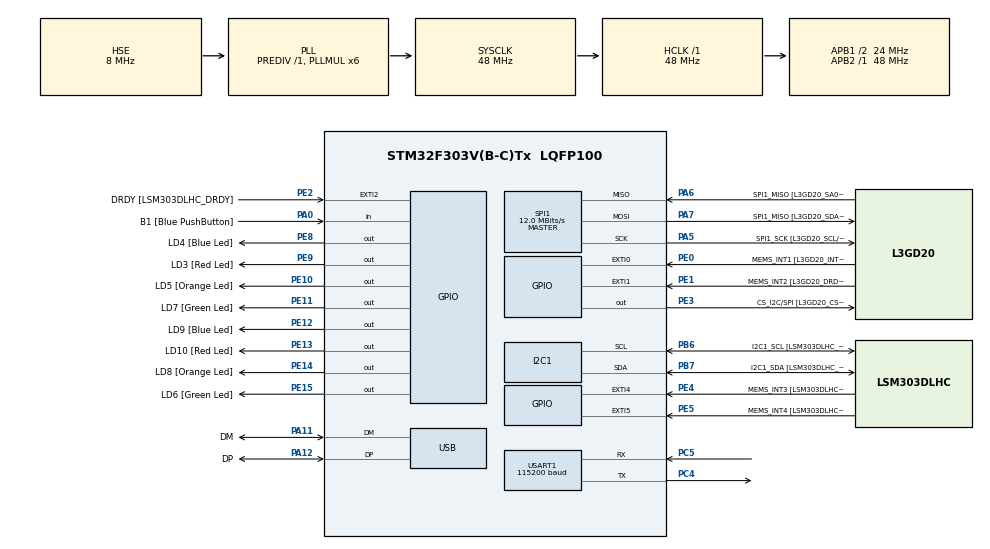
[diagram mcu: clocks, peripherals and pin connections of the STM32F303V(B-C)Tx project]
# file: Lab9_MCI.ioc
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I2C1.Timing=0x00201D2B
I2C1.Timing-I2C=0x2000090E
Mcu.Family=STM32F3
Mcu.Name=STM32F303V(B-C)Tx
Mcu.Package=LQFP100
NVIC.PriorityGroup=NVIC_PRIORITYGROUP_0
NVIC.USART1_IRQn=true\:0\:0\:false\:false\:true\:true\:true\:true
PA0.GPIO_Label=B1 [Blue PushButton]
PA0.Signal=GPIO_Input
PA11.GPIO_Label=DM
PA11.Mode=Device
PA11.Signal=USB_DM
PA12.GPIO_Label=DP
PA12.Mode=Device
PA12.Signal=USB_DP
PA13.GPIO_Label=SWDIO
PA13.Mode=Serial_Wire
PA13.Signal=SYS_JTMS-SWDIO
PA14.GPIO_Label=SWCLK
PA14.Mode=Serial_Wire
PA14.Signal=SYS_JTCK-SWCLK
PA5.GPIO_Label=SPI1_SCK [L3GD20_SCL/SPC]
PA5.Mode=Full_Duplex_Master
PA5.Signal=SPI1_SCK
PA6.GPIO_Label=SPI1_MISO [L3GD20_SA0/SDO]
PA6.Mode=Full_Duplex_Master
PA6.Signal=SPI1_MISO
PA7.GPIO_Label=SPI1_MISO [L3GD20_SDA/SDI/SDO]
PA7.Mode=Full_Duplex_Master
PA7.Signal=SPI1_MOSI
PB3.GPIO_Label=SWO
PB3.Signal=SYS_JTDO-TRACESWO
PB6.GPIO_Label=I2C1_SCL [LSM303DLHC_SCL]
PB6.GPIO_Pu=GPIO_PULLUP
PB6.Mode=I2C
PB6.Signal=I2C1_SCL
PB7.GPIO_Label=I2C1_SDA [LSM303DLHC_SDA]
PB7.GPIO_Pu=GPIO_PULLUP
PB7.Mode=I2C
PB7.Signal=I2C1_SDA
PC14-OSC32_IN.GPIO_Label=OSC32_IN
PC14-OSC32_IN.Signal=RCC_OSC32_IN
PC15-OSC32_OUT.GPIO_Label=OSC32_OUT
PC15-OSC32_OUT.Signal=RCC_OSC32_OUT
PC4.Mode=Asynchronous
PC4.Signal=USART1_TX
PC5.Mode=Asynchronous
PC5.Signal=USART1_RX
PE0.GPIO_Label=MEMS_INT1 [L3GD20_INT1]
PE0.GPIO_ModeDefaultEXTI=GPIO_MODE_EVT_RISING
PE0.Signal=GPXTI0
PE1.GPIO_Label=MEMS_INT2 [L3GD20_DRDY/INT2]
PE1.GPIO_ModeDefaultEXTI=GPIO_MODE_EVT_RISING
PE1.Signal=GPXTI1
PE10.GPIO_Label=LD5 [Orange Led]
PE10.Signal=GPIO_Output
PE11.GPIO_Label=LD7 [Green Led]
PE11.Signal=GPIO_Output
PE12.GPIO_Label=LD9 [Blue Led]
PE12.Signal=GPIO_Output
PE13.GPIO_Label=LD10 [Red Led]
PE13.Signal=GPIO_Output
PE14.GPIO_Label=LD8 [Orange Led]
PE14.Signal=GPIO_Output
PE15.GPIO_Label=LD6 [Green Led]
PE15.Signal=GPIO_Output
PE2.GPIO_Label=DRDY [LSM303DLHC_DRDY]
PE2.GPIO_ModeDefaultEXTI=GPIO_MODE_EVT_RISING
PE2.Signal=GPXTI2
PE3.GPIO_Label=CS_I2C/SPI [L3GD20_CS_I2C/SPI]
PE3.Signal=GPIO_Output
PE4.GPIO_Label=MEMS_INT3 [LSM303DLHC_INT1]
PE4.GPIO_ModeDefaultEXTI=GPIO_MODE_EVT_RISING
PE4.Signal=GPXTI4
PE5.GPIO_Label=MEMS_INT4 [LSM303DLHC_INT2]
PE5.GPIO_ModeDefaultEXTI=GPIO_MODE_EVT_RISING
PE5.Signal=GPXTI5
PE8.GPIO_Label=LD4 [Blue Led]
PE8.Signal=GPIO_Output
PE9.GPIO_Label=LD3 [Red Led]
PE9.Signal=GPIO_Output
PF0-OSC_IN.GPIO_Label=OSC_IN
PF0-OSC_IN.Mode=HSE-External-Clock-Source
PF0-OSC_IN.Signal=RCC_OSC_IN
PF1-OSC_OUT.GPIO_Label=OSC_OUT
PF1-OSC_OUT.Signal=RCC_OSC_OUT
ProjectManager.HeapSize=0x200
ProjectManager.StackSize=0x400
ProjectManager.TargetToolchain=CMake
RCC.AHBFreq_Value=48000000
RCC.APB1CLKDivider=RCC_HCLK_DIV2
RCC.APB1Freq_Value=24000000
RCC.APB1TimFreq_Value=48000000
RCC.APB2Freq_Value=48000000
RCC.APB2TimFreq_Value=48000000
RCC.CortexFreq_Value=48000000
RCC.HCLKFreq_Value=48000000
RCC.HSE_VALUE=8000000
RCC.HSI_VALUE=8000000
RCC.LSE_VALUE=32768
RCC.PLLMUL=RCC_PLL_MUL6
RCC.SYSCLKFreq_VALUE=48000000
RCC.SYSCLKSourceVirtual=RCC_SYSCLKSOURCE_PLLCLK
RCC.USBFreq_Value=48000000
SPI1.BaudRatePrescaler=SPI_BAUDRATEPRESCALER_4
SPI1.BaudRatePrescaler-Full_Duplex_Master=SPI_BAUDRATEPRESCALER_2
SPI1.CalculateBaudRate=12.0 MBits/s
SPI1.CalculateBaudRate-Full_Duplex_Master=24.0 MBits/s
SPI1.Direction=SPI_DIRECTION_2LINES
SPI1.Mode=SPI_MODE_MASTER
SPI1.Mode-Full_Duplex_Master=SPI_MODE_MASTER
SPI1.VirtualType=VM_MASTER
USART1.BaudRate=115200
USART1.VirtualMode-Asynchronous=VM_ASYNC
board=STM32F3DISCOVERY

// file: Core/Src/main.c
/* USER CODE BEGIN Header */
/**
  ******************************************************************************
  * @file           : main.c
  * @brief          : Main program body
  ******************************************************************************
  * @attention
  *
  * Copyright (c) 2025 STMicroelectronics.
  * All rights reserved.
  *
  * This software is licensed under terms that can be found in the LICENSE file
  * in the root directory of this software component.
  * If no LICENSE file comes with this software, it is provided AS-IS.
  *
  ******************************************************************************
  */
/* USER CODE END Header */
#include "main.h"
#include "stdio.h"
#include "string.h"

// I2C_HandleTypeDef hi2c1;
// SPI_HandleTypeDef hspi1;
// UART_HandleTypeDef huart1;
// PCD_HandleTypeDef hpcd_USB_FS;

I2C_HandleTypeDef hi2c1;

SPI_HandleTypeDef hspi1;

UART_HandleTypeDef huart1;

PCD_HandleTypeDef hpcd_USB_FS;

void SystemClock_Config(void);
static void MX_GPIO_Init(void);
static void MX_I2C1_Init(void);
static void MX_SPI1_Init(void);
static void MX_USART1_UART_Init(void);
static void MX_USB_PCD_Init(void);
/* USER CODE BEGIN PFP */
/* User variables */
// const uint8_t LSM303AGR_7BIT_ADDR = 0x33;    // 7-bit address
// const uint8_t LSM303AGR_WHO_AM_I = 0x0F;     // WHO_AM_I register
// uint8_t dev_addr;                            // 8-bit HAL device address (7-bit << 1)
// uint8_t whoami = 0;
// #define LSM_A_ADDR_8 (0x19u << 1)
// #define LSM_A_WHOAMI 0x0F
// char msg[80];
/* USER CODE END PFP */
/* ---- integer-only printing of g-values ---- */
#define GYRO_CS_GPIO_Port   GPIOE
#define GYRO_CS_Pin         CS_I2C_SPI_Pin
#define GYRO_CS_LOW()       HAL_GPIO_WritePin(GYRO_CS_GPIO_Port, GYRO_CS_Pin, GPIO_PIN_RESET)
#define GYRO_CS_HIGH()      HAL_GPIO_WritePin(GYRO_CS_GPIO_Port, GYRO_CS_Pin, GPIO_PIN_SET)

//GYROSCOPE
/* ===== L3GD20 (on-board gyro) via SPI1 ===== */
#define GYRO_REG_WHOAMI   0x0F   // expect 0xD4 or 0xD7
#define GYRO_REG_CTRL1    0x20   // power + ODR
#define GYRO_REG_CTRL4    0x23   // full-scale
#define GYRO_REG_OUT_X_L  0x28   // X/Y/Z output regs start
/* SPI read/multi bits for L3GD20: bit7=1 (READ), bit6=1 (auto-inc) */
#define GYRO_SPI_READ     0x80
#define GYRO_SPI_AUTO_INC 0x40

#define GYRO_SENS_250DPS  0.00875f  // dps/LSB @ ±250 dps

static void uart_print(const char *s) {
  HAL_UART_Transmit(&huart1, (uint8_t*)s, (uint16_t)strlen(s), HAL_MAX_DELAY);
}
static inline int16_t s16(uint8_t lo, uint8_t hi) {
  return (int16_t)((hi << 8) | lo);
}
static void gyro_write_u8(uint8_t reg, uint8_t val) {
  uint8_t tx[2] = { reg & 0x3F, val }; // write: bit7=0, bit6=0
  GYRO_CS_LOW();
  HAL_SPI_Transmit(&hspi1, tx, 2, 100);
  GYRO_CS_HIGH();
}

static void gyro_read_n(uint8_t reg, uint8_t *buf, uint16_t n) {
  uint8_t header = (reg & 0x3F) | GYRO_SPI_READ | (n>1 ? GYRO_SPI_AUTO_INC : 0);
  GYRO_CS_LOW();
  HAL_SPI_Transmit(&hspi1, &header, 1, 100);
  HAL_SPI_Receive(&hspi1, buf, n, 100);
  GYRO_CS_HIGH();
}

static uint8_t gyro_read_u8(uint8_t reg) {
  uint8_t v=0; gyro_read_n(reg, &v, 1); return v;
}

/* Bring gyro up: normal mode, 100 Hz, all axes on; ±250 dps */
static void gyro_init(void) {
  /* CTRL1: ODR=95/100Hz & enable X/Y/Z + power on -> 0x0F is common start */
  gyro_write_u8(GYRO_REG_CTRL1, 0x0F);
  /* CTRL4: scale = ±250 dps (FS bits = 00), continuous update -> 0x00 */
  gyro_write_u8(GYRO_REG_CTRL4, 0x00);
  HAL_Delay(10);
}

// static inline int16_t s16(uint8_t lo, uint8_t hi) { return (int16_t)((hi<<8)|lo); }

/* Read X/Y/Z raw and convert to dps (we’ll print as fixed-point) */
typedef struct { float gx, gy, gz; } gyro_t;

static void gyro_read(gyro_t *g) {
  uint8_t b[6];
  gyro_read_n(GYRO_REG_OUT_X_L, b, 6);  // auto-increment reads X/Y/Z L/H
  int16_t x = s16(b[0], b[1]);
  int16_t y = s16(b[2], b[3]);
  int16_t z = s16(b[4], b[5]);
  g->gx = x * GYRO_SENS_250DPS;
  g->gy = y * GYRO_SENS_250DPS;
  g->gz = z * GYRO_SENS_250DPS;
}
//task3
static void deg_to_text(char *dst, size_t n, float deg){
  int32_t mdeg = (int32_t)((deg>=0)?(deg*1000.0f+0.5f):(deg*1000.0f-0.5f));
  int32_t s = (mdeg<0); if(s) mdeg=-mdeg;
  int32_t i = mdeg/1000, f = mdeg%1000;
  if(s) snprintf(dst,n,"-%ld.%03ld",(long)i,(long)f);
  else  snprintf(dst,n, "%ld.%03ld",(long)i,(long)f);
}
static float gyro_calibrate_bias_x(int samples, int delay_ms){
  gyro_t g; float sum = 0.0f;
  for(int i=0;i<samples;i++){
    gyro_read(&g);
    sum += g.gx;           // degrees/second
    HAL_Delay(delay_ms);
  }
  return sum / samples;    // °/s bias
}

static void dps_to_text(char *dst, size_t n, float dps){
  int32_t mdps = (int32_t)((dps>=0)?(dps*1000.0f+0.5f):(dps*1000.0f-0.5f));
  int32_t s = (mdps<0); if(s) mdps=-mdps;
  int32_t i = mdps/1000, f = mdps%1000;
  if(s) snprintf(dst,n,"-%ld.%03ld",(long)i,(long)f);
  else  snprintf(dst,n, "%ld.%03ld",(long)i,(long)f);
}
static void print_gyro_csv(float gx,float gy,float gz){
  char ax[16], ay[16], az[16], line[64];
  dps_to_text(ax,sizeof ax,gx);
  dps_to_text(ay,sizeof ay,gy);
  dps_to_text(az,sizeof az,gz);
  snprintf(line,sizeof line,"%s, %s, %s\r\n",ax,ay,az);
  uart_print(line);
}

//ACCELEROMETER
/* convert one g-value (float) to text like "-0.012" WITHOUT float printf */
static void g_to_text(char *dst, size_t n, float g) {
  /* scale to milli-g and round */
  int32_t mg = (int32_t)( (g >= 0.0f) ? (g*1000.0f + 0.5f) : (g*1000.0f - 0.5f) );
  int32_t s = (mg < 0);
  if (s) mg = -mg;
  int32_t i = mg / 1000;      /* integer part in g */
  int32_t f = mg % 1000;      /* fractional part in mg */
  if (s)
    snprintf(dst, n, "-%ld.%03ld", (long)i, (long)f);
  else
    snprintf(dst, n,  "%ld.%03ld", (long)i, (long)f);
}

/* print three g-values as CSV: ax, ay, az using only integer printf */
static void print_xyz_csv(float ax, float ay, float az) {
  char a[16], b[16], c[16], line[64];
  g_to_text(a, sizeof(a), ax);
  g_to_text(b, sizeof(b), ay);
  g_to_text(c, sizeof(c), az);
  snprintf(line, sizeof(line), "%s, %s, %s\r\n", a, b, c);
  uart_print(line);
}
//task2
/* ===== LSM303AGR accelerometer (ACC) ===== */
#define LSM_A_ADDR_8        (0x19u << 1)   // 0x32
#define LSM_A_CTRL1         0x20           // ODR & axes enable
#define LSM_A_CTRL4         0x23           // full-scale & mode
#define LSM_A_OUT_X_L       0x28           // first data reg (auto-inc)
#define LSM_A_AUTO_INC      0x80           // OR this for multi-byte read

/* Lab’s Normal mode scale: 3.9 mg/LSB = 0.0039 g/LSB (±2g) */
#define LSM_A_G_PER_LSB     0.0039f

static HAL_StatusTypeDef i2c_write8(uint16_t dev8, uint8_t reg, uint8_t val) {
  return HAL_I2C_Mem_Write(&hi2c1, dev8, reg, I2C_MEMADD_SIZE_8BIT, &val, 1, 100);
}
static HAL_StatusTypeDef i2c_readn(uint16_t dev8, uint8_t reg, uint8_t *buf, uint16_t n) {
  return HAL_I2C_Mem_Read(&hi2c1, dev8, reg, I2C_MEMADD_SIZE_8BIT, buf, n, 100);
}

typedef struct {
  float ax, ay, az;      // in g
  float offx, offy, offz;
} lsm_acc_t;

/* 100 Hz ODR, all axes on; ±2g normal mode */
static void LSM_Accel_Init(void) {
  /* CTRL1_A:
     ODR=100 Hz (0b0101 << 4 = 0x50), LPen=0 (normal), Zen/Yen/Xen=1 → 0x07
     => 0x57 */
  i2c_write8(LSM_A_ADDR_8, LSM_A_CTRL1, 0x57);

  /* CTRL4_A:
     BDU=0, BLE=0, FS=±2g(00), HR=0 (normal mode) → 0x00 */
  i2c_write8(LSM_A_ADDR_8, LSM_A_CTRL4, 0x00);

  HAL_Delay(10);
}

/* Read raw XYZ (6 bytes), convert to g (Normal mode: 10-bit/12-bit effective; lab scale 3.9 mg/LSB) */
static HAL_StatusTypeDef LSM_Accel_Read(lsm_acc_t *m) {
  uint8_t b[6];
  HAL_StatusTypeDef st = i2c_readn(LSM_A_ADDR_8, (LSM_A_OUT_X_L | LSM_A_AUTO_INC), b, 6);
  if (st != HAL_OK) return st;

  int16_t rx = s16(b[0], b[1]);
  int16_t ry = s16(b[2], b[3]);
  int16_t rz = s16(b[4], b[5]);

  /* Convert to g using 0.0039 g/LSB, then subtract offsets */
  m->ax = rx * LSM_A_G_PER_LSB - m->offx;
  m->ay = ry * LSM_A_G_PER_LSB - m->offy;
  m->az = rz * LSM_A_G_PER_LSB - m->offz;
  return HAL_OK;
}

/* Simple offset calibration: average N samples while device is still/flat */
static void LSM_Accel_Calibrate(lsm_acc_t *m, int N) {
  float sx=0, sy=0, sz=0;
  lsm_acc_t t = {0};
  for (int i=0; i<N; i++) {
    if (LSM_Accel_Read(&t) == HAL_OK) {
      sx += t.ax; sy += t.ay; sz += t.az;
    }
    HAL_Delay(10);
  }
  /* If lying flat Z ~ +1 g. We want offsets that zero readings except gravity on Z.
     For Task 2 we’ll just remove the raw bias; keep gravity as-is (no 1g correction).
     If you want Z ~ 0 when flat, use m->offz = (sz/N) - 1.0f; */
  m->offx = sx / N;
  m->offy = sy / N;
  m->offz = sz / N;   // or (sz/N) - 1.0f to make flat Z≈0
}
/* USER CODE BEGIN 0 */
int _write(int file, char *ptr, int len); // retarget printf to UART
/* USER CODE END 0 */
int _write(int file, char *ptr, int len)
{
  /* file param is ignored; send over huart1 */
  if (HAL_UART_Transmit(&huart1, (uint8_t *)ptr, len, HAL_MAX_DELAY) == HAL_OK)
    return len;
  return -1;
}
int main(void)
{

  /* USER CODE BEGIN 1 */
  // dev_addr = (uint8_t)(LSM303AGR_7BIT_ADDR << 1); // HAL wants 8-bit address
  /* USER CODE END 1 */

  /* MCU Configuration--------------------------------------------------------*/

  /* Reset of all peripherals, Initializes the Flash interface and the Systick. */
  HAL_Init();

  /* USER CODE BEGIN Init */
  // dev_addr = (uint8_t)(LSM303AGR_7BIT_ADDR << 1); // HAL wants 8-bit address
  /* USER CODE END Init */

  /* Configure the system clock */
  SystemClock_Config();

  /* Initialize all configured peripherals */
  MX_GPIO_Init();
  MX_I2C1_Init();
  MX_SPI1_Init();
  MX_USART1_UART_Init();
  MX_USB_PCD_Init();
  /* USER CODE BEGIN 2 */
/* LSM303AGR parameters */
  // const uint8_t LSM303AGR_7BIT_ADDR = 0x33;          // 7-bit address (from your spec)
  // const uint8_t LSM303AGR_WHO_AM_I = 0x0F;           // WHO_AM_I register
  // uint8_t dev_addr = LSM303AGR_7BIT_ADDR << 1;       // HAL expects 8-bit (7-bit << 1)
  // uint8_t whoami = 0;
  // char msg[80];

  // HAL_Delay(100); // short delay after init
  //   printf("Starting LSM303AGR WHO_AM_I read example...\r\n");
  /* USER CODE END 2 */
//   HAL_Delay(100);
// printf("Task 2: init accel & stream XYZ (g)\r\n");

// /* Sanity: device present? */
// HAL_StatusTypeDef st = HAL_I2C_IsDeviceReady(&hi2c1, LSM_A_ADDR_8, 3, 50);
// printf("IsDeviceReady: %s (err=0x%lX)\r\n", (st==HAL_OK)?"OK":"ERR", hi2c1.ErrorCode);

// /* Init accel, then calibrate */
// LSM_Accel_Init();
// lsm_acc_t acc = {0};
// printf("Calibrating offsets... keep board still (0.2 s)\r\n");
// LSM_Accel_Calibrate(&acc, 20);
// // printf("Offsets  x=%.4f g  y=%.4f g  z=%.4f g\r\n", acc.offx, acc.offy, acc.offz);
// {
//   char ax[16], ay[16], az[16], line[80];
//   g_to_text(ax, sizeof(ax), acc.offx);
//   g_to_text(ay, sizeof(ay), acc.offy);
//   g_to_text(az, sizeof(az), acc.offz);
//   snprintf(line, sizeof(line),
//            "Offsets  x=%s g  y=%s g  z=%s g\r\n", ax, ay, az);
//   uart_print(line);
// }
HAL_Delay(100);

/* --- SPI CS idle high before any SPI use --- */
GYRO_CS_HIGH();

/* --- Accelerometer bring-up --- */
if (HAL_I2C_IsDeviceReady(&hi2c1, LSM_A_ADDR_8, 3, 50) == HAL_OK) {
  printf("Accel present\r\n");
} else {
  printf("Accel NOT present (I2C err=0x%lX)\r\n", hi2c1.ErrorCode);
}
LSM_Accel_Init();
lsm_acc_t a = {0};
/* quick bias estimate (optional) */
LSM_Accel_Calibrate(&a, 20);

/* --- Gyro bring-up --- */
uint8_t gid = gyro_read_u8(GYRO_REG_WHOAMI);   // expect 0xD4 or 0xD7
printf("Gyro WHO_AM_I=0x%02X\r\n", gid);
gyro_init();
/* --- Gyro bias calibration (keep board still) --- */
uart_print("Calibrating gyro bias... keep board still (about 2s)\r\n");
float gyro_bias_x = gyro_calibrate_bias_x(200, 10);  // ~2 seconds
char bias_txt[16]; dps_to_text(bias_txt, sizeof bias_txt, gyro_bias_x);
char line0[64]; snprintf(line0, sizeof line0, "GyroX bias=%s dps\r\n", bias_txt);
uart_print(line0);

/* --- Angle integrator state --- */
float angle_x = 0.0f;                   // degrees
uint32_t t_prev = HAL_GetTick();        // ms

/* Stream CSV every ~100 ms: ax, ay, az in g */
// gyro_t g;
// while (1) {

//   lsm_acc_t m = acc;  // copy to use stored offsets
//   if (LSM_Accel_Read(&m) == HAL_OK) {
//     // printf("%.4f, %.4f, %.4f\r\n", m.ax, m.ay, m.az);
//     print_xyz_csv(0,m.ay,0);
//   } else {
//     printf("READ ERR (I2C err=0x%lX)\r\n", hi2c1.ErrorCode);
//   }
//   HAL_Delay(100);
// }
  /* Infinite loop */
// while (1)
//   {
    // HAL_StatusTypeDef res = HAL_I2C_Mem_Read(&hi2c1,
    //                                          LSM_A_ADDR_8,
    //                                          LSM_A_WHOAMI,
    //                                          I2C_MEMADD_SIZE_8BIT,
    //                                          &whoami,
    //                                          1,
    //                                          100);

    // if (res == HAL_OK)
    // {
    //   // Print success and the returned value in hex
    //   int n = snprintf(msg, sizeof(msg), "LSM303AGR WHO_AM_I = 0x%02X\r\n", whoami);
    //   HAL_UART_Transmit(&huart1, (uint8_t*)msg, n, HAL_MAX_DELAY);
    // }
    // else
    // {
    //   // Print error
    //   int n = snprintf(msg, sizeof(msg), "I2C read error: %d\r\n", (int)res);
    //   HAL_UART_Transmit(&huart1, (uint8_t*)msg, n, HAL_MAX_DELAY);
    //   // Optionally re-initialize I2C (not required, depends on your board)
    //   printf("I2C read error = %d, HAL_I2C_ErrorCode = 0x%lX\r\n", res, hi2c1.ErrorCode);
    // }

    // HAL_Delay(1000);
  // }
    /* USER CODE BEGIN 3 */
  // gyro_read(&g);

  // /* read accel and use Y */
  // LSM_Accel_Read(&a);   // 'a' already holds offsets from calibration

  // /* print: gx (dps), ay (g) using integer-only formatting */
  // char gx_txt[16], ay_txt[16], line[64];
  // dps_to_text(gx_txt, sizeof gx_txt, g.gx);
  // g_to_text(ay_txt, sizeof ay_txt, a.ay);
  // snprintf(line, sizeof line, "GyroX=%s dps, AccY=%s g\r\n", gx_txt, ay_txt);
  // uart_print(line);

  // HAL_Delay(100);
  // }
  //task3
  gyro_t g;
  while (1) {
  /* time step */
  uint32_t t_now = HAL_GetTick();
  float dt = (t_now - t_prev) * 0.001f;    // seconds
  t_prev = t_now;

  /* read sensors */
  gyro_read(&g);           // g.gx in °/s
  LSM_Accel_Read(&a);      // a.ay in g (already offset-corrected by your calib)

  /* integrate gyro to angle (degrees) with bias removal */
  float gx_nobias = g.gx - gyro_bias_x;    // °/s
  angle_x += gx_nobias * dt;               // °

  /* format & print: GyroX(dps), AccY(g), AngleX(deg) */
  char gx_txt[16], ay_txt[16], ang_txt[16], line[96];
  dps_to_text(gx_txt, sizeof gx_txt, g.gx);
  g_to_text(ay_txt,  sizeof ay_txt,  a.ay);
  deg_to_text(ang_txt, sizeof ang_txt, angle_x);

  snprintf(line, sizeof line,
           "GyroX=%s dps, AccY=%s g, AngleX=%s deg\r\n",
           gx_txt, ay_txt, ang_txt);
  uart_print(line);

  HAL_Delay(10);  // ~100 Hz
}
  /* USER CODE END 3 */
}
void SystemClock_Config(void)
{
  RCC_OscInitTypeDef RCC_OscInitStruct = {0};
  RCC_ClkInitTypeDef RCC_ClkInitStruct = {0};
  RCC_PeriphCLKInitTypeDef PeriphClkInit = {0};

  /** Initializes the RCC Oscillators according to the specified parameters
  * in the RCC_OscInitTypeDef structure.
  */
  RCC_OscInitStruct.OscillatorType = RCC_OSCILLATORTYPE_HSI|RCC_OSCILLATORTYPE_HSE;
  RCC_OscInitStruct.HSEState = RCC_HSE_BYPASS;
  RCC_OscInitStruct.HSEPredivValue = RCC_HSE_PREDIV_DIV1;
  RCC_OscInitStruct.HSIState = RCC_HSI_ON;
  RCC_OscInitStruct.HSICalibrationValue = RCC_HSICALIBRATION_DEFAULT;
  RCC_OscInitStruct.PLL.PLLState = RCC_PLL_ON;
  RCC_OscInitStruct.PLL.PLLSource = RCC_PLLSOURCE_HSE;
  RCC_OscInitStruct.PLL.PLLMUL = RCC_PLL_MUL6;
  if (HAL_RCC_OscConfig(&RCC_OscInitStruct) != HAL_OK)
  {
    Error_Handler();
  }

  /** Initializes the CPU, AHB and APB buses clocks
  */
  RCC_ClkInitStruct.ClockType = RCC_CLOCKTYPE_HCLK|RCC_CLOCKTYPE_SYSCLK
                              |RCC_CLOCKTYPE_PCLK1|RCC_CLOCKTYPE_PCLK2;
  RCC_ClkInitStruct.SYSCLKSource = RCC_SYSCLKSOURCE_PLLCLK;
  RCC_ClkInitStruct.AHBCLKDivider = RCC_SYSCLK_DIV1;
  RCC_ClkInitStruct.APB1CLKDivider = RCC_HCLK_DIV2;
  RCC_ClkInitStruct.APB2CLKDivider = RCC_HCLK_DIV1;

  if (HAL_RCC_ClockConfig(&RCC_ClkInitStruct, FLASH_LATENCY_1) != HAL_OK)
  {
    Error_Handler();
  }
  PeriphClkInit.PeriphClockSelection = RCC_PERIPHCLK_USB|RCC_PERIPHCLK_USART1
                              |RCC_PERIPHCLK_I2C1;
  PeriphClkInit.Usart1ClockSelection = RCC_USART1CLKSOURCE_PCLK2;
  PeriphClkInit.I2c1ClockSelection = RCC_I2C1CLKSOURCE_HSI;
  PeriphClkInit.USBClockSelection = RCC_USBCLKSOURCE_PLL;
  if (HAL_RCCEx_PeriphCLKConfig(&PeriphClkInit) != HAL_OK)
  {
    Error_Handler();
  }
}

static void MX_I2C1_Init(void)
{

  hi2c1.Instance = I2C1;
  hi2c1.Init.Timing = 0x00201D2B;
  hi2c1.Init.OwnAddress1 = 0;
  hi2c1.Init.AddressingMode = I2C_ADDRESSINGMODE_7BIT;
  hi2c1.Init.DualAddressMode = I2C_DUALADDRESS_DISABLE;
  hi2c1.Init.OwnAddress2 = 0;
  hi2c1.Init.OwnAddress2Masks = I2C_OA2_NOMASK;
  hi2c1.Init.GeneralCallMode = I2C_GENERALCALL_DISABLE;
  hi2c1.Init.NoStretchMode = I2C_NOSTRETCH_DISABLE;
  if (HAL_I2C_Init(&hi2c1) != HAL_OK)
  {
    Error_Handler();
  }

  /** Configure Analogue filter
  */
  if (HAL_I2CEx_ConfigAnalogFilter(&hi2c1, I2C_ANALOGFILTER_ENABLE) != HAL_OK)
  {
    Error_Handler();
  }

  /** Configure Digital filter
  */
  if (HAL_I2CEx_ConfigDigitalFilter(&hi2c1, 0) != HAL_OK)
  {
    Error_Handler();
  }

}

static void MX_SPI1_Init(void)
{

  /* SPI1 parameter configuration*/
  hspi1.Instance = SPI1;
  hspi1.Init.Mode = SPI_MODE_MASTER;
  hspi1.Init.Direction = SPI_DIRECTION_2LINES;
  hspi1.Init.DataSize = SPI_DATASIZE_8BIT;
  hspi1.Init.CLKPolarity = SPI_POLARITY_HIGH;
  hspi1.Init.CLKPhase = SPI_PHASE_2EDGE;
  hspi1.Init.NSS = SPI_NSS_SOFT;
  hspi1.Init.BaudRatePrescaler = SPI_BAUDRATEPRESCALER_16;
  hspi1.Init.FirstBit = SPI_FIRSTBIT_MSB;
  hspi1.Init.TIMode = SPI_TIMODE_DISABLE;
  hspi1.Init.CRCCalculation = SPI_CRCCALCULATION_DISABLE;
  hspi1.Init.CRCPolynomial = 7;
  hspi1.Init.CRCLength = SPI_CRC_LENGTH_DATASIZE;
  hspi1.Init.NSSPMode = SPI_NSS_PULSE_ENABLE;
  if (HAL_SPI_Init(&hspi1) != HAL_OK)
  {
    Error_Handler();
  }

}

static void MX_USART1_UART_Init(void)
{

  huart1.Instance = USART1;
  huart1.Init.BaudRate = 115200;
  huart1.Init.WordLength = UART_WORDLENGTH_8B;
  huart1.Init.StopBits = UART_STOPBITS_1;
  huart1.Init.Parity = UART_PARITY_NONE;
  huart1.Init.Mode = UART_MODE_TX_RX;
  huart1.Init.HwFlowCtl = UART_HWCONTROL_NONE;
  huart1.Init.OverSampling = UART_OVERSAMPLING_16;
  huart1.Init.OneBitSampling = UART_ONE_BIT_SAMPLE_DISABLE;
  huart1.AdvancedInit.AdvFeatureInit = UART_ADVFEATURE_NO_INIT;
  if (HAL_UART_Init(&huart1) != HAL_OK)
  {
    Error_Handler();
  }

}

static void MX_USB_PCD_Init(void)
{

  hpcd_USB_FS.Instance = USB;
  hpcd_USB_FS.Init.dev_endpoints = 8;
  hpcd_USB_FS.Init.speed = PCD_SPEED_FULL;
  hpcd_USB_FS.Init.phy_itface = PCD_PHY_EMBEDDED;
  hpcd_USB_FS.Init.low_power_enable = DISABLE;
  hpcd_USB_FS.Init.battery_charging_enable = DISABLE;
  if (HAL_PCD_Init(&hpcd_USB_FS) != HAL_OK)
  {
    Error_Handler();
  }

}

static void MX_GPIO_Init(void)
{
  GPIO_InitTypeDef GPIO_InitStruct = {0};

  /* GPIO Ports Clock Enable */
  __HAL_RCC_GPIOE_CLK_ENABLE();
  __HAL_RCC_GPIOC_CLK_ENABLE();
  __HAL_RCC_GPIOF_CLK_ENABLE();
  __HAL_RCC_GPIOA_CLK_ENABLE();
  __HAL_RCC_GPIOB_CLK_ENABLE();

  /*Configure GPIO pin Output Level */
  HAL_GPIO_WritePin(GPIOE, CS_I2C_SPI_Pin|LD4_Pin|LD3_Pin|LD5_Pin
                          |LD7_Pin|LD9_Pin|LD10_Pin|LD8_Pin
                          |LD6_Pin, GPIO_PIN_RESET);

  /*Configure GPIO pins : DRDY_Pin MEMS_INT3_Pin MEMS_INT4_Pin MEMS_INT1_Pin
                           MEMS_INT2_Pin */
  GPIO_InitStruct.Pin = DRDY_Pin|MEMS_INT3_Pin|MEMS_INT4_Pin|MEMS_INT1_Pin
                          |MEMS_INT2_Pin;
  GPIO_InitStruct.Mode = GPIO_MODE_EVT_RISING;
  GPIO_InitStruct.Pull = GPIO_NOPULL;
  HAL_GPIO_Init(GPIOE, &GPIO_InitStruct);

  /*Configure GPIO pins : CS_I2C_SPI_Pin LD4_Pin LD3_Pin LD5_Pin
                           LD7_Pin LD9_Pin LD10_Pin LD8_Pin
                           LD6_Pin */
  GPIO_InitStruct.Pin = CS_I2C_SPI_Pin|LD4_Pin|LD3_Pin|LD5_Pin
                          |LD7_Pin|LD9_Pin|LD10_Pin|LD8_Pin
                          |LD6_Pin;
  GPIO_InitStruct.Mode = GPIO_MODE_OUTPUT_PP;
  GPIO_InitStruct.Pull = GPIO_NOPULL;
  GPIO_InitStruct.Speed = GPIO_SPEED_FREQ_LOW;
  HAL_GPIO_Init(GPIOE, &GPIO_InitStruct);

  /*Configure GPIO pin : B1_Pin */
  GPIO_InitStruct.Pin = B1_Pin;
  GPIO_InitStruct.Mode = GPIO_MODE_INPUT;
  GPIO_InitStruct.Pull = GPIO_NOPULL;
  HAL_GPIO_Init(B1_GPIO_Port, &GPIO_InitStruct);

}

void Error_Handler(void)
{
  __disable_irq();
  while (1)
  {
  }
}
